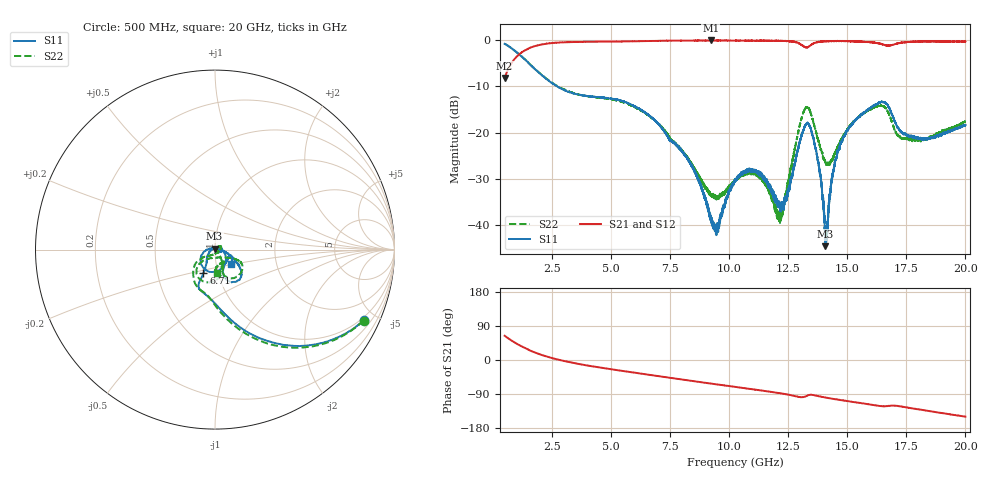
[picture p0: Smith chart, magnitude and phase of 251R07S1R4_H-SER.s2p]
!{201R07S1R4}
!Johanson Technology Inc.
!www.johansontechnology.com
!Test Board Conditions:
!Substrate Type  RO4350B
!Substrate Thickness  10 mil
!Substrate Dk  3.66
!TL Type: GCPW
!TL Trace Width  21 mil
!TL Gap  20 mil
!Electrode orientation  Horizontal
!DUT TOPOLOGY	SERIES
!Mounting Pad LxW  16x21 mil
!Agilent Technologies,N5230A,MY45001966,A.07.50.67
!Agilent N5230A: A.07.50.67
! Created Mon Mar  9 16:23:09 2020
# mhz S ma R 50
! 2 Port Network Data from SP1.SP block
! freq  magS11  angS11  magS21  angS21  magS12  angS12  magS22  angS22
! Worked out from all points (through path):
!   19501 points, 500 MHz to 20 GHz, reference 50 ohm
!   highest |S21| = -0.03 dB at 9.222 GHz (marker M1); lowest = -8.2 dB at 500 MHz (marker M2)
!   group delay of S21, straight-line fit = 25.2 ps
!   lowest |S11| = -44.6 dB at 14.08 GHz (marker M3), VSWR 1.01, Z = 49.8 + j0.54 ohm
!   |S11| at or under -10 dB: 2.727 GHz to end of sweep
!   |S22| runs from -39.6 to -0.7 dB; largest |S21 - S12| = 0.015
!   S11 on the Smith chart (normalised r, x): 500 MHz: 0.86, -4.28; 6.71 GHz: 0.85, -0.23; 20 GHz: 1.18, -0.19
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500  0.9174 -25.4  0.3907 64.1  0.392 64.2  0.9173 -25.6
1866  0.4662 -71.0  0.8771 17.8  0.878 17.8  0.4698 -72.5
3750  0.2546 -102.3  0.9618 -11.8  0.9616 -11.8  0.2547 -100.6
6710  0.1464 -116.0  0.9828 -39.9  0.9837 -40.0  0.1455 -141.5
7000  0.1251 -117.1  0.9872 -42.6  0.9876 -42.7  0.1254 -145.5
8422  0.04314 -148.0  0.9929 -55.3  0.9944 -55.3  0.04528 -131.4
9222  0.01207 152.2  0.9966 -62.2  0.9916 -62.1  0.02088 -80.1
9501  0.008936 91.1  0.9943 -64.6  0.9936 -64.5  0.02038 -52.3
10250  0.03108 18.4  0.9941 -70.9  0.9928 -70.9  0.0313 2.7
11277  0.03643 -13.3  0.9917 -79.7  0.9915 -79.7  0.03412 35.5
12167  0.01557 -18.6  0.9866 -87.7  0.992 -87.9  0.0125 -0.3
13101  0.09919 -57.9  0.8781 -98.0  0.8765 -98.2  0.154 -80.4
13500  0.1001 -143.6  0.9038 -92.0  0.9007 -91.9  0.1494 -133.3
13830  0.03815 177.5  0.9614 -96.2  0.9664 -96.1  0.07276 -132.3
14078  0.005898 113.0  0.975 -99.0  0.9815 -99.3  0.04738 -102.8
14437  0.04131 -8.3  0.9781 -102.9  0.9817 -103.0  0.05666 -51.7
14896  0.0935 -21.7  0.9802 -107.4  0.9776 -107.5  0.09703 -28.9
16113  0.1943 -40.6  0.943 -118.9  0.945 -118.9  0.1859 -34.3
16750  0.1898 -66.8  0.8783 -121.0  0.8719 -121.1  0.1621 -68.2
17191  0.1097 -63.5  0.9318 -121.9  0.9307 -121.6  0.09123 -60.4
17954  0.08849 -36.7  0.9668 -129.7  0.9735 -129.9  0.08445 -61.2
20000  0.1209 -42.3  0.9682 -149.5  0.9698 -149.4  0.1319 -86.3
